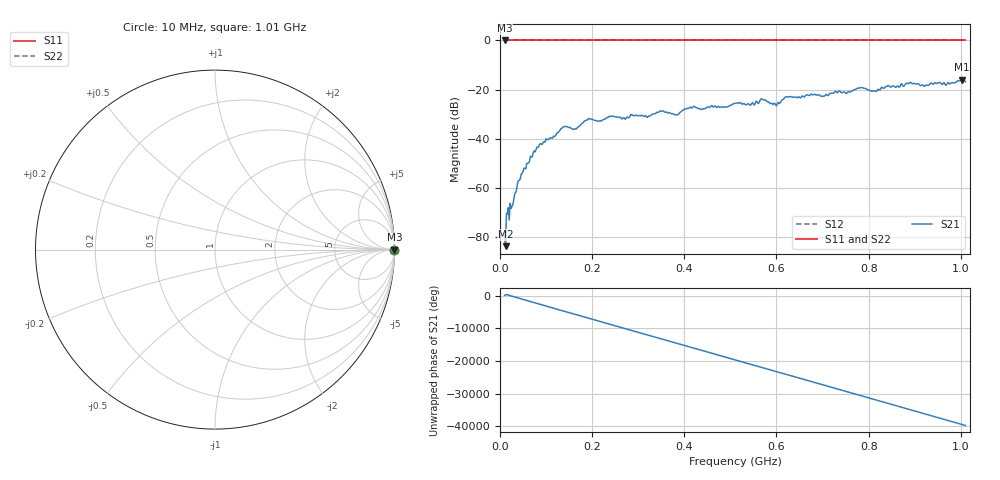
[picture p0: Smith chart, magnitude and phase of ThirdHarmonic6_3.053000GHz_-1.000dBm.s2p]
! 8/17/2025 8:52:34 AM
! C:\ANRITSUVNA\TEMP\TEMP.S2P
! CHANNEL.1
! TR.MEASUREMENT
! RAW.DATA
! RF.CORRECTION.OFF
! AVERAGING.OFF
! IF.BANDWIDTH: 5KHZ
! SWEEPTYPE:  FREQ.SWEEP(Linear)
! Reference Plane Port Info
! PORT:  PORT1  PORT2
! DISTANCE:  0  m  0  m
! TIME:  0  s  0  s
! PHASE.OFFSET:  0  deg.  0  deg.
! LOSS:  0  dB  0  dB
! REF.LOSS:  0  dB  0  dB
! REF.FREQ:  0  Hz  0  Hz
! Power Info
! POWER:  -20  dBm  -20  dBm
! EFF.POWER:  -20  dBm  -20  dBm
! SOURCE.ATTEN:  0  dB  0  dB
! TEST.ATTEN:  0  dB  0  dB
# GHZ S RI R 50.0
! FREQ.GHZ  S11RE  S11IM  S21RE  S21IM  S12RE  S12IM  S22RE  S22IM
!; PortSelection: Port_12
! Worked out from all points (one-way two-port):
!   501 points, 10 MHz to 1.01 GHz, reference 50 ohm
!   highest |S21| = -15.94 dB at 1.002 GHz (marker M1); lowest = -83.9 dB at 12 MHz (marker M2)
!   lowest |S11| = 0.0 dB at 10 MHz (marker M3)
!   |S11| at or under -10 dB: nowhere
!   |S22| runs from 0.0 to 0.0 dB; largest |S21 - S12| = 1.2
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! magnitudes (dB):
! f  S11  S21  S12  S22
! 10 MHz  0.0  -78.4  0.0  0.0
! 12 MHz  0.0  -83.9  0.0  0.0
! 18 MHz  0.0  -68.1  0.0  0.0
! 24 MHz  0.0  -68.5  0.0  0.0
! 42 MHz  0.0  -57.0  0.0  0.0
! 76 MHz  0.0  -45.4  0.0  0.0
! 136 MHz  0.0  -35.5  0.0  0.0
! 162 MHz  0.0  -36.0  0.0  0.0
! 178 MHz  0.0  -33.8  0.0  0.0
! 194 MHz  0.0  -32.0  0.0  0.0
! 322 MHz  0.0  -30.9  0.0  0.0
! 344 MHz  0.0  -29.3  0.0  0.0
! 382 MHz  0.0  -30.3  0.0  0.0
! 416 MHz  0.0  -27.5  0.0  0.0
! 510 MHz  0.0  -25.6  0.0  0.0
! 570 MHz  0.0  -24.0  0.0  0.0
! 596 MHz  0.0  -25.6  0.0  0.0
! 622 MHz  0.0  -23.0  0.0  0.0
! 678 MHz  0.0  -22.1  0.0  0.0
! 844 MHz  0.0  -18.4  0.0  0.0
! 1.002 GHz  0.0  -15.9  0.0  0.0
! 1.01 GHz  0.0  -16.8  0.0  0.0
